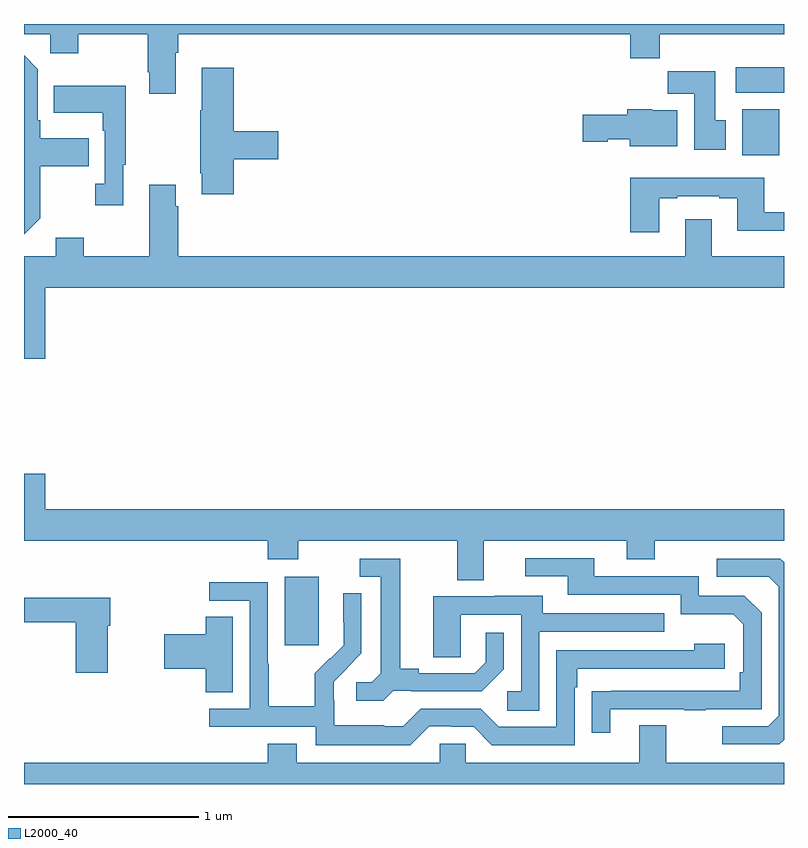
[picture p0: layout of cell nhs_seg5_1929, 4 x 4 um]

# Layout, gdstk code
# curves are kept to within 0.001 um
import gdstk
lib = gdstk.Library(unit=1e-6, precision=1e-09)
def R(c, l, rs):  # rectangles x0, y0, x1, y1
    for r in rs: c.add(gdstk.rectangle(r[:2], r[2:], *l))
def P(c, l, *ps):  # polygons
    for p in ps: c.add(gdstk.Polygon(p, *l))
L2000_40 = (2000, 40)

nhs_seg5_1929 = lib.new_cell('nhs_seg5_1929')
R(nhs_seg5_1929, L2000_40, [(226.373,869.529,226.552,869.89), (228.779,872.108,228.976,872.35), (228.747,872.438,229,872.572)])
P(nhs_seg5_1929, L2000_40, [(225.799,872.648),(225.812,872.648),(225.812,872.744),(228.191,872.744),(228.191,872.62),(228.347,872.62),(228.347,872.744),(229,872.744),(229,872.799),(225,872.799),(225,872.744),(225.138,872.744),(225.138,872.645),(225.285,872.645),(225.285,872.744),(225.652,872.744),(225.652,872.545),(225.659,872.545),(225.659,872.433),(225.799,872.433)],
  [(225.085,871.777),(225.085,872.05),(225.341,872.05),(225.341,872.197),(225.085,872.197),(225.085,872.293),(225.072,872.293),(225.072,872.562),(225,872.634),(225,871.692)],
  [(226.103,872.087),(226.339,872.087),(226.339,872.234),(226.103,872.234),(226.103,872.569),(225.935,872.569),(225.935,872.345),(225.928,872.345),(225.928,872.014),(225.935,872.014),(225.935,871.902),(226.103,871.902)],
  [(228.694,872.292),(228.637,872.292),(228.637,872.551),(228.388,872.551),(228.388,872.432),(228.527,872.432),(228.527,872.136),(228.694,872.136)],
  [(225.523,872.057),(225.535,872.057),(225.535,872.473),(225.157,872.473),(225.157,872.333),(225.414,872.333),(225.414,872.237),(225.426,872.237),(225.426,871.958),(225.375,871.958),(225.375,871.845),(225.523,871.845)],
  [(228.439,872.344),(228.306,872.344),(228.306,872.35),(228.176,872.35),(228.176,872.322),(227.94,872.322),(227.94,872.18),(228.072,872.18),(228.072,872.192),(228.188,872.192),(228.188,872.156),(228.439,872.156)],
  [(228.343,871.881),(228.439,871.881),(228.439,871.893),(228.659,871.893),(228.659,871.881),(228.755,871.881),(228.755,871.712),(229,871.712),(229,871.809),(228.895,871.809),(228.895,871.99),(228.191,871.99),(228.191,871.704),(228.343,871.704)],
  [(225.112,871.412),(229,871.412),(229,871.576),(228.619,871.576),(228.619,871.771),(228.479,871.771),(228.479,871.576),(225.812,871.576),(225.812,871.841),(225.799,871.841),(225.799,871.954),(225.659,871.954),(225.659,871.576),(225.315,871.576),(225.315,871.675),(225.167,871.675),(225.167,871.576),(225,871.576),(225,871.038),(225.112,871.038)],
  [(227.419,870.08),(228.173,870.08),(228.173,869.981),(228.321,869.981),(228.321,870.08),(229,870.08),(229,870.244),(225.112,870.244),(225.112,870.433),(225,870.433),(225,870.08),(226.283,870.08),(226.283,869.981),(226.443,869.981),(226.443,870.08),(227.279,870.08),(227.279,869.872),(227.419,869.872)],
  [(228.085,869.193),(228.475,869.193),(228.475,869.188),(228.587,869.188),(228.587,869.193),(228.882,869.193),(228.882,869.7),(228.792,869.79),(228.552,869.79),(228.552,869.892),(228.001,869.892),(228.001,869.988),(227.637,869.988),(227.637,869.892),(227.861,869.892),(227.861,869.796),(228.456,869.796),(228.456,869.693),(228.733,869.693),(228.786,869.64),(228.786,869.386),(228.766,869.386),(228.766,869.289),(227.989,869.288),(227.989,869.07),(228.085,869.07)],
  [(226.944,869.289),(227.038,869.289),(227.038,869.286),(227.41,869.286),(227.526,869.402),(227.526,869.596),(227.429,869.596),(227.429,869.439),(227.372,869.382),(227.077,869.382),(227.077,869.405),(226.981,869.405),(226.981,869.985),(226.767,869.985),(226.767,869.889),(226.877,869.889),(226.877,869.381),(226.83,869.334),(226.749,869.334),(226.749,869.237),(226.892,869.237)],
  [(229,869.032),(229,869.966),(228.981,869.985),(228.645,869.985),(228.645,869.889),(228.921,869.889),(228.972,869.838),(228.972,869.157),(228.918,869.103),(228.675,869.103),(228.675,869.007),(228.975,869.007)],
  [(227.133,869.103),(227.249,869.103),(227.249,869.1),(227.367,869.1),(227.463,869.004),(227.898,869.004),(227.898,869.309),(227.911,869.309),(227.911,869.406),(228.688,869.406),(228.688,869.536),(228.527,869.536),(228.527,869.502),(227.802,869.502),(227.802,869.1),(227.499,869.1),(227.403,869.196),(227.088,869.196),(226.995,869.103),(226.895,869.103),(226.895,869.107),(226.632,869.107),(226.632,869.241),(226.63,869.241),(226.63,869.338),(226.776,869.486),(226.776,869.804),(226.68,869.804),(226.68,869.65),(226.682,869.65),(226.682,869.528),(226.611,869.457),(226.608,869.46),(226.531,869.383),(226.531,869.209),(226.287,869.209),(226.287,869.432),(226.284,869.432),(226.284,869.862),(225.975,869.862),(225.975,869.763),(226.188,869.763),(226.188,869.196),(225.975,869.196),(225.975,869.1),(226.536,869.1),(226.536,869.003),(227.033,869.003)],
  [(227.712,869.601),(228.371,869.601),(228.371,869.697),(227.731,869.697),(227.731,869.791),(227.477,869.791),(227.477,869.787),(227.153,869.787),(227.153,869.467),(227.298,869.467),(227.298,869.691),(227.616,869.691),(227.616,869.286),(227.544,869.286),(227.544,869.185),(227.712,869.185)],
  [(225.442,869.633),(225.455,869.633),(225.455,869.779),(225,869.779),(225,869.65),(225.272,869.65),(225.272,869.385),(225.442,869.385)],
  [(226.099,869.678),(225.956,869.678),(225.956,869.588),(225.738,869.588),(225.738,869.405),(225.956,869.405),(225.956,869.281),(226.099,869.281)],
  [(229,868.912),(228.379,868.912),(228.379,869.107),(228.239,869.107),(228.239,868.912),(227.325,868.912),(227.325,869.01),(227.187,869.01),(227.187,868.912),(226.435,868.912),(226.435,869.011),(226.283,869.011),(226.283,868.912),(225,868.912),(225,868.799),(229,868.799)])

lib.write_gds('nhs_seg5_1929.gds')
